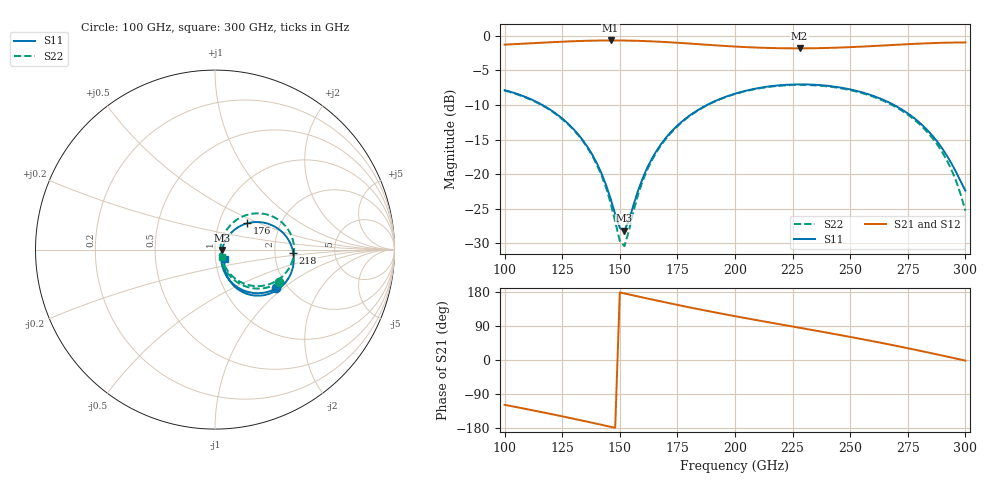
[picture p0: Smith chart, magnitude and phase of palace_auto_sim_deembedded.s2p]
! Created with skrf 1.11.0 (http://scikit-rf.org).
# GHz S DB R 50.0
!freq dBS11 angS11 dBS21 angS21 dBS12 angS12 dBS22 angS22
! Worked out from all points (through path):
!   101 points, 100 GHz to 300 GHz, reference 50 ohm
!   highest |S21| = -0.69 dB at 146 GHz (marker M1); lowest = -1.8 dB at 228 GHz (marker M2)
!   group delay of S21, straight-line fit = 3.33 ps
!   lowest |S11| = -28.2 dB at 152 GHz (marker M3), VSWR 1.08, Z = 54.1 - j0.153 ohm
!   |S11| at or under -10 dB: 116.3 GHz to 187.9 GHz (71.54 GHz wide, 47 % of centre); 268.9 GHz to end of sweep
!   |S22| runs from -30.4 to -7.1 dB; largest |S21 - S12| = 9.9e-14
!   S11 on the Smith chart (normalised r, x): 100 GHz: 1.74, -0.90; 176 GHz: 1.36, +0.42; 218 GHz: 2.54, -0.10; 300 GHz: 1.11, -0.12
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100  -7.87 -32.3  -1.29 -118.4  -1.29 -118.4  -7.94 -27.1
120  -10.73 -53.3  -0.95 -142.4  -0.95 -142.4  -10.81 -47.5
134  -15.12 -65.6  -0.75 -160.3  -0.75 -160.3  -15.24 -60.2
140  -18.40 -67.2  -0.71 -168.3  -0.71 -168.3  -18.60 -62.8
146  -23.54 -58.3  -0.69 -176.3  -0.69 -176.3  -24.15 -56.3
150  -27.76 -28.7  -0.69 178.3  -0.69 178.3  -29.65 -25.7
152  -28.18 -2.1  -0.70 175.6  -0.70 175.6  -30.41 8.6
158  -22.31 40.8  -0.75 167.6  -0.75 167.6  -22.88 55.9
160  -20.52 44.3  -0.77 165.0  -0.77 165.0  -20.92 58.6
168  -15.62 44.9  -0.89 154.5  -0.89 154.5  -15.78 57.6
176  -12.68 39.1  -1.04 144.2  -1.04 144.2  -12.77 51.3
186  -10.33 29.8  -1.27 131.9  -1.27 131.9  -10.39 41.9
200  -8.38 15.9  -1.57 115.7  -1.57 115.7  -8.43 27.9
218  -7.21 -2.2  -1.80 95.9  -1.80 95.9  -7.27 10.1
228  -7.03 -12.2  -1.83 85.1  -1.83 85.1  -7.11 0.2
234  -7.08 -18.1  -1.81 78.6  -1.81 78.6  -7.16 -5.7
252  -7.91 -36.1  -1.63 58.6  -1.63 58.6  -8.02 -23.6
268  -9.83 -51.7  -1.35 39.8  -1.35 39.8  -9.98 -39.9
280  -12.53 -61.7  -1.15 24.7  -1.15 24.7  -12.76 -51.7
288  -15.39 -65.2  -1.05 14.3  -1.05 14.3  -15.82 -57.8
294  -18.48 -62.5  -1.00 6.4  -1.00 6.4  -19.40 -59.1
300  -22.39 -45.5  -0.97 -1.7  -0.97 -1.7  -25.29 -47.0
